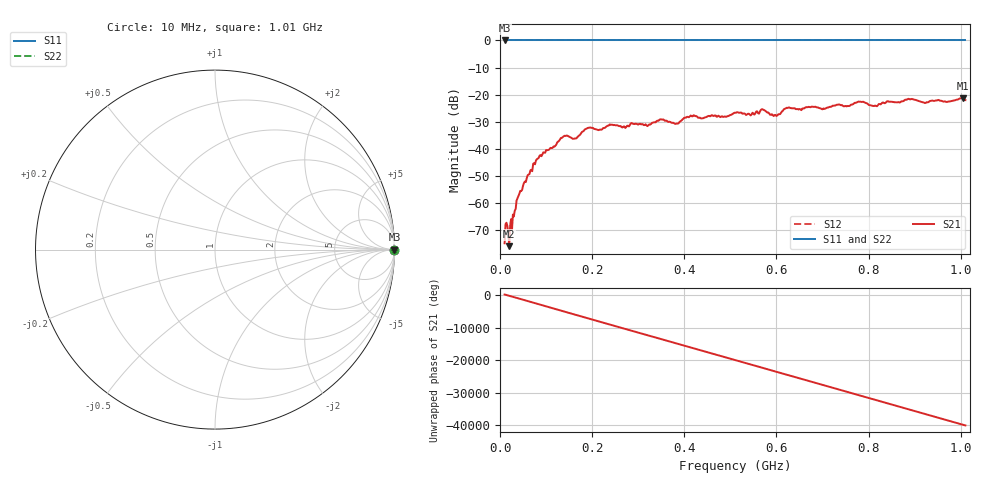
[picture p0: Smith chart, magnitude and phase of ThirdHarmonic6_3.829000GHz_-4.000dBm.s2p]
! 8/17/2025 1:18:34 PM
! C:\ANRITSUVNA\TEMP\TEMP.S2P
! CHANNEL.1
! TR.MEASUREMENT
! RAW.DATA
! RF.CORRECTION.OFF
! AVERAGING.OFF
! IF.BANDWIDTH: 5KHZ
! SWEEPTYPE:  FREQ.SWEEP(Linear)
! Reference Plane Port Info
! PORT:  PORT1  PORT2
! DISTANCE:  0  m  0  m
! TIME:  0  s  0  s
! PHASE.OFFSET:  0  deg.  0  deg.
! LOSS:  0  dB  0  dB
! REF.LOSS:  0  dB  0  dB
! REF.FREQ:  0  Hz  0  Hz
! Power Info
! POWER:  -20  dBm  -20  dBm
! EFF.POWER:  -20  dBm  -20  dBm
! SOURCE.ATTEN:  0  dB  0  dB
! TEST.ATTEN:  0  dB  0  dB
# GHZ S RI R 50.0
! FREQ.GHZ  S11RE  S11IM  S21RE  S21IM  S12RE  S12IM  S22RE  S22IM
!; PortSelection: Port_12
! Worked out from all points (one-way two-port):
!   501 points, 10 MHz to 1.01 GHz, reference 50 ohm
!   highest |S21| = -21.32 dB at 1.004 GHz (marker M1); lowest = -75.8 dB at 20 MHz (marker M2)
!   lowest |S11| = 0.0 dB at 10 MHz (marker M3)
!   |S11| at or under -10 dB: nowhere
!   |S22| runs from 0.0 to 0.0 dB; largest |S21 - S12| = 1.1
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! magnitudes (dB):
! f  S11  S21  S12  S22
! 10 MHz  0.0  -74.8  0.0  0.0
! 20 MHz  0.0  -75.8  0.0  0.0
! 22 MHz  0.0  -68.4  0.0  0.0
! 40 MHz  0.0  -57.3  0.0  0.0
! 82 MHz  0.0  -43.6  0.0  0.0
! 136 MHz  0.0  -35.7  0.0  0.0
! 162 MHz  0.0  -36.2  0.0  0.0
! 178 MHz  0.0  -33.7  0.0  0.0
! 192 MHz  0.0  -32.2  0.0  0.0
! 322 MHz  0.0  -31.2  0.0  0.0
! 344 MHz  0.0  -29.6  0.0  0.0
! 384 MHz  0.0  -30.6  0.0  0.0
! 418 MHz  0.0  -28.0  0.0  0.0
! 510 MHz  0.0  -26.6  0.0  0.0
! 570 MHz  0.0  -25.3  0.0  0.0
! 598 MHz  0.0  -27.5  0.0  0.0
! 624 MHz  0.0  -24.9  0.0  0.0
! 678 MHz  0.0  -24.4  0.0  0.0
! 814 MHz  0.0  -24.0  0.0  0.0
! 844 MHz  0.0  -22.6  0.0  0.0
! 1.004 GHz  0.0  -21.3  0.0  0.0
! 1.01 GHz  0.0  -22.0  0.0  0.0
